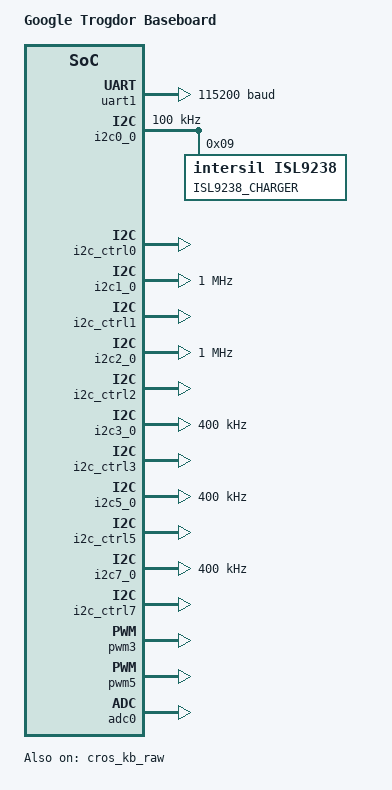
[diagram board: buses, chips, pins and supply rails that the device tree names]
/* Copyright 2021 The Chromium OS Authors. All rights reserved.
 * Use of this source code is governed by a BSD-style license that can be
 * found in the LICENSE file.
 */

/dts-v1/;

#include <cros/nuvoton/npcx7.dtsi>
#include <dt-bindings/adc/adc.h>
#include <dt-bindings/gpio_defines.h>
#include <dt-bindings/wake_mask_event_defines.h>
#include <nuvoton/npcx7m7fc.dtsi>

/ {
	model = "Google Trogdor Baseboard";

	aliases {
		i2c-0 = &i2c0_0;
		i2c-1 = &i2c1_0;
		i2c-2 = &i2c2_0;
		i2c-3 = &i2c3_0;
		i2c-5 = &i2c5_0;
		i2c-7 = &i2c7_0;
	};

	chosen {
		zephyr,sram = &sram0;
		zephyr,console = &uart1;
		zephyr,shell-uart = &uart1;
		zephyr,flash = &flash0;
		cros,rtc = &mtc;
	};

	ec-console {
		compatible = "ec-console";

		disabled = "hostcmd";
	};

	ec-mkbp-host-event-wakeup-mask {
		compatible = "ec-wake-mask-event";
		wakeup-mask = <(
			HOST_EVENT_MASK(HOST_EVENT_LID_OPEN) |
			HOST_EVENT_MASK(HOST_EVENT_POWER_BUTTON) |
			HOST_EVENT_MASK(HOST_EVENT_AC_CONNECTED) |
			HOST_EVENT_MASK(HOST_EVENT_AC_DISCONNECTED) |
			HOST_EVENT_MASK(HOST_EVENT_HANG_DETECT) |
			HOST_EVENT_MASK(HOST_EVENT_RTC) |
			HOST_EVENT_MASK(HOST_EVENT_MODE_CHANGE) |
			HOST_EVENT_MASK(HOST_EVENT_DEVICE))>;
	};

	ec-mkbp-event-wakeup-mask {
		compatible = "ec-wake-mask-event";
		wakeup-mask = <(MKBP_EVENT_KEY_MATRIX |
				MKBP_EVENT_HOST_EVENT |
				MKBP_EVENT_SENSOR_FIFO)>;
	};

	named-i2c-ports {
		compatible = "named-i2c-ports";

		power {
			i2c-port = <&i2c0_0>;
			enum-name = "I2C_PORT_POWER";
		};
		battery {
			i2c-port = <&i2c0_0>;
			remote-port = <0>;
			enum-name = "I2C_PORT_BATTERY";
		};
		virtual-battery {
			i2c-port = <&i2c0_0>;
			enum-name = "I2C_PORT_VIRTUAL_BATTERY";
		};
		charger {
			i2c-port = <&i2c0_0>;
			enum-name = "I2C_PORT_CHARGER";
		};
		tcpc0 {
			i2c-port = <&i2c1_0>;
			enum-name = "I2C_PORT_TCPC0";
		};
		tcpc1 {
			i2c-port = <&i2c2_0>;
			enum-name = "I2C_PORT_TCPC1";
		};
		eeprom {
			i2c-port = <&i2c5_0>;
			enum-name = "I2C_PORT_EEPROM";
		};
		i2c_sensor: sensor {
			i2c-port = <&i2c7_0>;
			enum-name = "I2C_PORT_SENSOR";
		};
		accel {
			i2c-port = <&i2c7_0>;
			enum-name = "I2C_PORT_ACCEL";
		};
	};

	named-pwms {
		compatible = "named-pwms";

		kblight: kblight {
			pwms = <&pwm3 0 0>;
			label = "KBLIGHT";
			frequency = <10000>;
		};
		displight: displight {
			pwms = <&pwm5 0 0>;
			label = "DISPLIGHT";
			frequency = <4800>;
		};
	};

	named-adc-channels {
		compatible = "named-adc-channels";

		vbus {
			label = "VBUS";
			enum-name = "ADC_VBUS";
			channel = <1>;
			/* Measure VBUS through a 1/10 voltage divider */
			mul = <10>;
		};
		amon_bmon {
			label = "AMON_BMON";
			enum-name = "ADC_AMON_BMON";
			channel = <2>;
			/*
			 * Adapter current output or battery charging/
			 * discharging current (uV) 18x amplification on
			 * charger side.
			 */
			mul = <1000>;
			div = <18>;
		};
		psys {
			label = "PSYS";
			enum-name = "ADC_PSYS";
			channel = <3>;
			/*
			 * ISL9238 PSYS output is 1.44 uA/W over 5.6K resistor,
			 * to read 0.8V @ 99 W, i.e. 124000 uW/mV.
			 */
			mul = <124000>;
		};
	};

	def-lvol-io-list {
		compatible = "nuvoton,npcx-lvolctrl-def";

		/* I2C_SDA0 & SCL0 */
		lvol-io-pads = <&lvol_iob4 &lvol_iob5>;
	};
};

&uart1 {
	status = "okay";
	current-speed = <115200>;
	pinctrl-0 = <&altc_uart1_sl2>; /* Use UART1_SL2 ie. PIN64.65 */
};

&i2c0_0 {
	status = "okay";
	clock-frequency = <I2C_BITRATE_STANDARD>;

	isl9238: isl9238@9 {
		compatible = "intersil,isl9238";
		reg = <0x09>;
		label = "ISL9238_CHARGER";
	};
};

&i2c_ctrl0 {
	status = "okay";
};

&i2c1_0 {
	status = "okay";
	clock-frequency = <I2C_BITRATE_FAST_PLUS>;
};

&i2c_ctrl1 {
	status = "okay";
};

&i2c2_0 {
	status = "okay";
	clock-frequency = <I2C_BITRATE_FAST_PLUS>;
};

&i2c_ctrl2 {
	status = "okay";
};

&i2c3_0 {
	/* Not used as no WLC connected */
	clock-frequency = <I2C_BITRATE_FAST>;
};

&i2c_ctrl3 {
	status = "okay";
};

&i2c5_0 {
	status = "okay";
	clock-frequency = <I2C_BITRATE_FAST>;
};

&i2c_ctrl5 {
	status = "okay";
};

&i2c7_0 {
	status = "okay";
	clock-frequency = <I2C_BITRATE_FAST>;
};

&i2c_ctrl7 {
	status = "okay";
};

/* Keyboard backlight */
&pwm3 {
	status = "okay";
};

/* Display backlight */
&pwm5 {
	status = "okay";
};

&adc0 {
	status = "okay";
};

&cros_kb_raw {
	status = "okay";
	/* No KSO2 (it's inverted and implemented by GPIO) */
	pinctrl-0 = <&alt7_no_ksi0_sl
		     &alt7_no_ksi1_sl
		     &alt7_no_ksi2_sl
		     &alt7_no_ksi3_sl
		     &alt7_no_ksi4_sl
		     &alt7_no_ksi5_sl
		     &alt7_no_ksi6_sl
		     &alt7_no_ksi7_sl
		     &alt8_no_kso00_sl
		     &alt8_no_kso01_sl
		     &alt8_no_kso03_sl
		     &alt8_no_kso04_sl
		     &alt8_no_kso05_sl
		     &alt8_no_kso06_sl
		     &alt8_no_kso07_sl
		     &alt9_no_kso08_sl
		     &alt9_no_kso09_sl
		     &alt9_no_kso10_sl
		     &alt9_no_kso11_sl
		     &alt9_no_kso12_sl
		     >;
};
